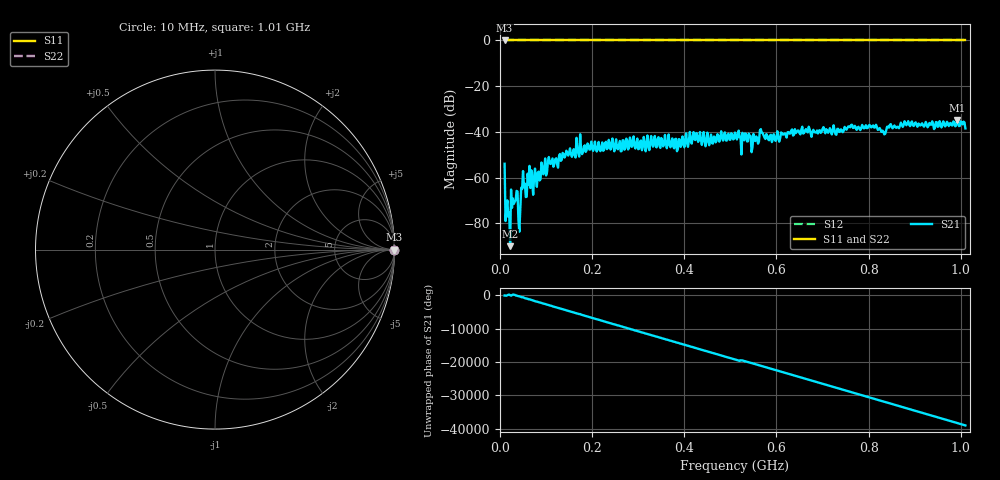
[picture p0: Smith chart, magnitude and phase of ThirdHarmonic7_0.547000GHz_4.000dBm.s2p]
! 8/17/2025 4:33:26 PM
! C:\ANRITSUVNA\TEMP\TEMP.S2P
! CHANNEL.1
! TR.MEASUREMENT
! RAW.DATA
! RF.CORRECTION.OFF
! AVERAGING.OFF
! IF.BANDWIDTH: 5KHZ
! SWEEPTYPE:  FREQ.SWEEP(Linear)
! Reference Plane Port Info
! PORT:  PORT1  PORT2
! DISTANCE:  0  m  0  m
! TIME:  0  s  0  s
! PHASE.OFFSET:  0  deg.  0  deg.
! LOSS:  0  dB  0  dB
! REF.LOSS:  0  dB  0  dB
! REF.FREQ:  0  Hz  0  Hz
! Power Info
! POWER:  -20  dBm  -20  dBm
! EFF.POWER:  -20  dBm  -20  dBm
! SOURCE.ATTEN:  0  dB  0  dB
! TEST.ATTEN:  0  dB  0  dB
# GHZ S RI R 50.0
! FREQ.GHZ  S11RE  S11IM  S21RE  S21IM  S12RE  S12IM  S22RE  S22IM
!; PortSelection: Port_12
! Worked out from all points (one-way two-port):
!   501 points, 10 MHz to 1.01 GHz, reference 50 ohm
!   highest |S21| = -34.79 dB at 992 MHz (marker M1); lowest = -89.9 dB at 22 MHz (marker M2)
!   lowest |S11| = 0.0 dB at 10 MHz (marker M3)
!   |S11| at or under -10 dB: nowhere
!   |S22| runs from 0.0 to 0.0 dB; largest |S21 - S12| = 1
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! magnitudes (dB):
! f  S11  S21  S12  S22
! 10 MHz  0.0  -53.9  0.0  0.0
! 16 MHz  0.0  -69.9  0.0  0.0
! 22 MHz  0.0  -89.9  0.0  0.0
! 34 MHz  0.0  -69.9  0.0  0.0
! 44 MHz  0.0  -73.5  0.0  0.0
! 50 MHz  0.0  -57.1  0.0  0.0
! 58 MHz  0.0  -68.3  0.0  0.0
! 64 MHz  0.0  -54.8  0.0  0.0
! 76 MHz  0.0  -56.0  0.0  0.0
! 108 MHz  0.0  -53.8  0.0  0.0
! 178 MHz  0.0  -49.7  0.0  0.0
! 344 MHz  0.0  -42.3  0.0  0.0
! 510 MHz  0.0  -40.3  0.0  0.0
! 550 MHz  0.0  -40.9  0.0  0.0
! 568 MHz  0.0  -40.3  0.0  0.0
! 594 MHz  0.0  -41.0  0.0  0.0
! 678 MHz  0.0  -39.9  0.0  0.0
! 760 MHz  0.0  -37.9  0.0  0.0
! 832 MHz  0.0  -39.8  0.0  0.0
! 844 MHz  0.0  -38.1  0.0  0.0
! 992 MHz  0.0  -34.8  0.0  0.0
! 1.01 GHz  0.0  -38.4  0.0  0.0
